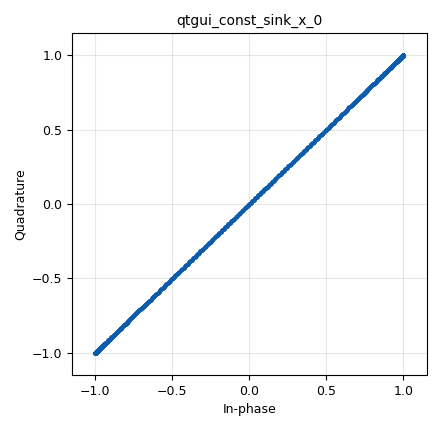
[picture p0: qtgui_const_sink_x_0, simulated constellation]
options:
  parameters:
    generate_options: qt_gui
    id: ecse351_gnuRadio_jls437
    output_language: python
    title: ECSE 351 GNU Radio Assignment
  states: {}

blocks:
- name: persistance
  id: variable
  parameters:
    value: '10240'
  states: {}
- name: samp_rate
  id: variable
  parameters:
    value: '32000'
  states: {}
- name: signal1_amp
  id: variable_qtgui_range
  parameters:
    label: Signal 1 Amplitude
    rangeType: int
    start: '0'
    step: '1'
    stop: '100'
    value: '1'
  states: {}
- name: signal1_freq
  id: variable_qtgui_range
  parameters:
    label: Signal 1 Frequency
    rangeType: int
    start: '0'
    step: '1'
    stop: '100'
    value: '50'
  states: {}
- name: signal1_phase
  id: variable_qtgui_range
  parameters:
    label: Signal 1 Phase
    start: '0'
    step: '1'
    stop: '180'
    value: '0'
  states: {}
- name: signal2_amp
  id: variable_qtgui_range
  parameters:
    label: Signal 2 Amplitude
    rangeType: int
    start: '0'
    step: '1'
    stop: '100'
    value: '1'
  states: {}
- name: signal2_freq
  id: variable_qtgui_range
  parameters:
    label: Signal 2 Frequency
    rangeType: int
    start: '0'
    step: '1'
    stop: '100'
    value: '50'
  states: {}
- name: signal2_phase
  id: variable_qtgui_range
  parameters:
    label: Signal 2 Phase
    start: '0'
    step: '1'
    stop: '180'
    value: '0'
  states: {}
- name: update_time
  id: variable_qtgui_range
  parameters:
    label: Phasor View Update Time
    start: '0.01'
    step: '0.001'
    stop: '5'
    value: '0.01'
  states: {}
- name: analog_sig_source_x_0
  id: analog_sig_source_x
  parameters:
    amp: signal1_amp
    freq: signal1_freq
    offset: '0'
    phase: '0'
    samp_rate: samp_rate
    type: complex
    waveform: analog.GR_COS_WAVE
  states: {}
- name: analog_sig_source_x_0_0
  id: analog_sig_source_x
  parameters:
    amp: signal2_amp
    freq: signal2_freq
    offset: '0'
    phase: '0'
    samp_rate: samp_rate
    type: complex
    waveform: analog.GR_COS_WAVE
  states: {}
- name: blocks_complex_to_real_0
  id: blocks_complex_to_real
  parameters: {}
  states: {}
- name: blocks_complex_to_real_0_0
  id: blocks_complex_to_real
  parameters: {}
  states: {}
- name: blocks_float_to_complex_0
  id: blocks_float_to_complex
  parameters: {}
  states: {}
- name: blocks_multiply_xx_0
  id: blocks_multiply_xx
  parameters:
    type: float
  states: {}
- name: blocks_phase_shift_0
  id: blocks_phase_shift
  parameters:
    is_radians: 'False'
    shift: signal1_phase
  states: {}
- name: blocks_phase_shift_0_0
  id: blocks_phase_shift
  parameters:
    is_radians: 'False'
    shift: signal2_phase
  states: {}
- name: qtgui_const_sink_x_0
  id: qtgui_const_sink_x
  parameters:
    autoscale: 'True'
    grid: 'True'
    size: persistance
    type: complex
    update_time: update_time
  states: {}
- name: qtgui_time_sink_x_0
  id: qtgui_time_sink_x
  parameters:
    size: '1024'
    srate: samp_rate
    tr_mode: qtgui.TRIG_MODE_NORM
    type: float
    ymax: (signal1_amp * signal2_amp * 1.1)
    ymin: '-(signal1_amp * signal2_amp * 1.1)'
  states: {}

connections:
- [analog_sig_source_x_0, '0', blocks_phase_shift_0, '0']
- [analog_sig_source_x_0_0, '0', blocks_phase_shift_0_0, '0']
- [blocks_complex_to_real_0, '0', blocks_float_to_complex_0, '0']
- [blocks_complex_to_real_0, '0', blocks_multiply_xx_0, '0']
- [blocks_complex_to_real_0_0, '0', blocks_float_to_complex_0, '1']
- [blocks_complex_to_real_0_0, '0', blocks_multiply_xx_0, '1']
- [blocks_float_to_complex_0, '0', qtgui_const_sink_x_0, '0']
- [blocks_multiply_xx_0, '0', qtgui_time_sink_x_0, '0']
- [blocks_phase_shift_0, '0', blocks_complex_to_real_0, '0']
- [blocks_phase_shift_0_0, '0', blocks_complex_to_real_0_0, '0']

metadata:
  file_format: 1
  grc_version: 3.10.12.0
